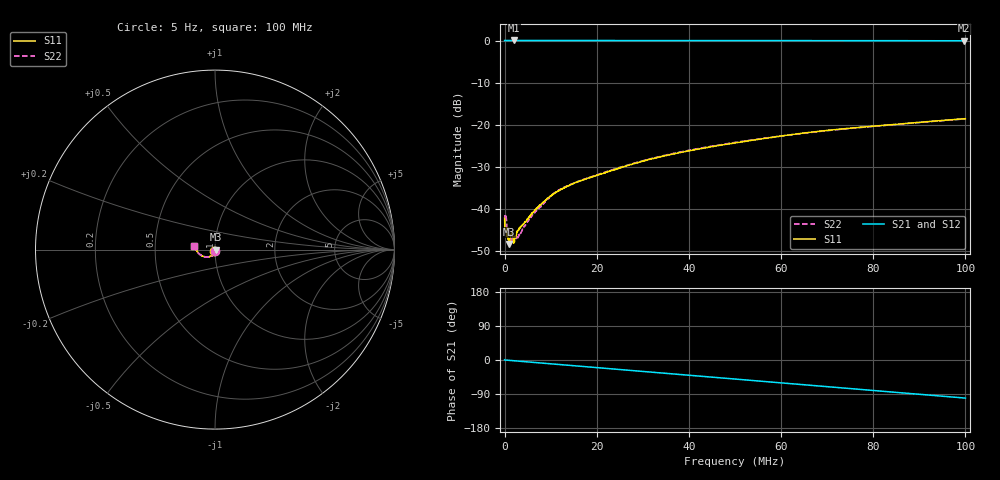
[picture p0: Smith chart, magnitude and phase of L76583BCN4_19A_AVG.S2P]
!Agilent Technologies,E5061B,MY49102235,A.02.00
!Date: Tue Jul 11 17:10:05 2023
!Data & Calibration Information:
!Freq	S11:SOLT2(ON)	S21:SOLT2(ON)	S12:SOLT2(ON)	S22:SOLT2(ON)
# Hz S RI R 50
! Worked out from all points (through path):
!   1600 points, 5 Hz to 100 MHz, reference 50 ohm
!   highest |S21| = 0.02 dB at 1.939 MHz (marker M1); lowest = -0.1 dB at 99.75 MHz (marker M2)
!   group delay of S21, straight-line fit = 2.79 ns
!   lowest |S11| = -48.4 dB at 1.001 MHz (marker M3), VSWR 1.01, Z = 50.4 - j0.0818 ohm
!   |S11| at or under -10 dB: start of sweep to end of sweep
!   |S22| runs from -48.9 to -18.6 dB; largest |S21 - S12| = 0.0029
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5  -0.00518 -0.00564  1.002 0.00796  1.001 0.0103  -0.00135 -0.00756
437778.6  0.00518 -0.000603  1.001 -0.00535  1.001 -0.006  0.00661 -0.00225
625395.8  0.00511 -0.000662  1.002 -0.0105  1.002 -0.00995  0.00609 -0.00101
1000630  0.00372 -0.000812  1.001 -0.0166  1.001 -0.0158  0.00509 -0.00174
1563482  0.00429 -0.00294  1.001 -0.0265  1 -0.0253  0.0031 -0.00353
1938717  0.00306 -0.00239  1.002 -0.0337  1.001 -0.0328  0.00335 -0.00213
2376490  0.00325 -0.00306  0.9999 -0.0415  1 -0.0414  0.00389 -0.00274
3252037  0.00418 -0.00428  0.9996 -0.057  0.9991 -0.0565  0.0031 -0.00379
4690436  0.00367 -0.00611  0.9978 -0.0822  0.9974 -0.0818  0.00335 -0.00578
6003757  0.00324 -0.00804  0.9955 -0.1051  0.9954 -0.1045  0.0028 -0.00786
9505946  0.00137 -0.0133  0.9872 -0.1663  0.9872 -0.1657  0.000756 -0.0133
1.156974e7  -0.00014 -0.0163  0.9807 -0.2018  0.9802 -0.2012  -0.00104 -0.0164
1.669794e7  -0.00406 -0.0213  0.9579 -0.289  0.9577 -0.2885  -0.00448 -0.0213
2.582865e7  -0.0115 -0.0292  0.8997 -0.4382  0.8994 -0.4377  -0.00953 -0.0305
3.333334e7  -0.0206 -0.0352  0.8338 -0.5524  0.8337 -0.5518  -0.0192 -0.0364
4.040025e7  -0.0303 -0.0388  0.7587 -0.6509  0.7589 -0.6506  -0.0297 -0.0401
5.003127e7  -0.0447 -0.0407  0.6381 -0.7691  0.6381 -0.7685  -0.0449 -0.0417
6.672921e7  -0.0742 -0.0341  0.388 -0.9192  0.3884 -0.9189  -0.0734 -0.0342
7.53596e7  -0.0878 -0.0243  0.2449 -0.9662  0.2452 -0.9658  -0.0869 -0.0251
8.33646e7  -0.0984 -0.0115  0.1074 -0.9903  0.1075 -0.9902  -0.0977 -0.0135
9.974984e7  -0.1155 0.0207  -0.1775 -0.9779  -0.1769 -0.9779  -0.1151 0.0178
1e8  -0.1156 0.0212  -0.1817 -0.9773  -0.1813 -0.9772  -0.1155 0.0185
